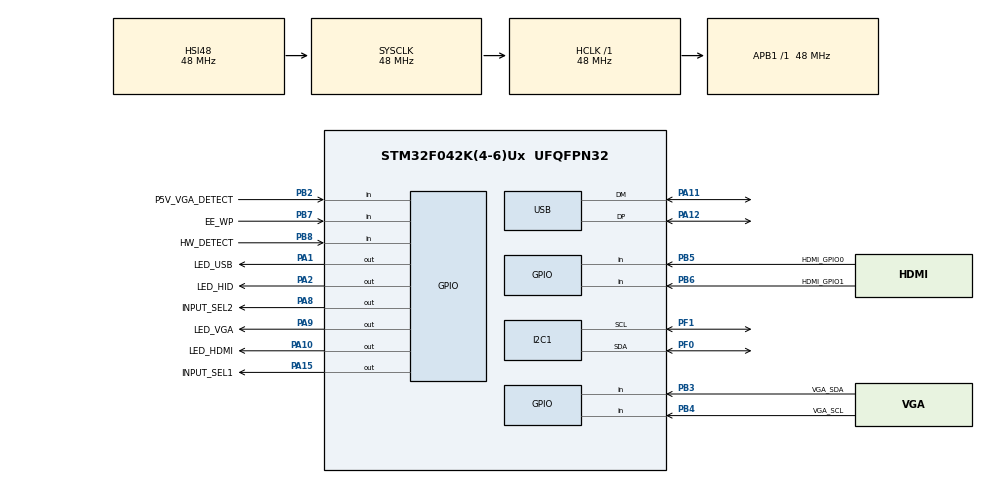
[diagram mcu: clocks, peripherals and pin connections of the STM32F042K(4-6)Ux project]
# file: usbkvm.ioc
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Mcu.Family=STM32F0
PA9.GPIO_Label=LED_VGA
I2C1.I2C_Rise_Time=0x0
PB8.GPIO_PuPd=GPIO_PULLUP
PA11.Mode=Device
PB6.GPIO_Label=HDMI_GPIO1
RCC.SYSCLKSource=RCC_SYSCLKSOURCE_HSI48
ProjectManager.StackSize=0x400
NVIC.I2C1_IRQn=true\:0\:0\:false\:false\:true\:true\:true
PA13.Signal=SYS_SWDIO
PB8.GPIO_Label=HW_DETECT
PA15.GPIO_Label=INPUT_SEL1
PA12.Signal=USB_DP
PA8.GPIO_Label=INPUT_SEL2
ProjectManager.TargetToolchain=Makefile
RCC.HCLKFreq_Value=48000000
PA9.Signal=GPIO_Output
PB6.Signal=GPIO_Input
VP_RCC_USB.Mode=CRS SYNC Source USB
PA1.Signal=GPIO_Output
RCC.AHBFreq_Value=48000000
PF0-OSC_IN.Mode=I2C
PB2.Signal=GPIO_Input
board=custom
I2C1.NoStretchMode=I2C_NOSTRETCH_ENABLE
PB4.GPIO_Label=VGA_SCL
PA14.Mode=Serial_Wire
PA1.GPIO_Label=LED_USB
PA10.GPIO_Label=LED_HDMI
PB7.Signal=GPIO_Input
PA8.Signal=GPIO_Output
PA13.Mode=Serial_Wire
Mcu.Name=STM32F042K(4-6)Ux
PB2.GPIO_PuPd=GPIO_PULLUP
PA2.Signal=GPIO_Output
I2C1.OwnAddress=0xa
PB7.GPIO_Label=EE_WP
PB3.Signal=GPIO_Input
RCC.SYSCLKFreq_VALUE=48000000
Mcu.Package=UFQFPN32
PB5.Signal=GPIO_Input
PA12.Mode=Device
PA2.GPIO_Label=LED_HID
PA11.Signal=USB_DM
PA10.Signal=GPIO_Output
PA14.Signal=SYS_SWCLK
PB2.GPIO_Label=P5V_VGA_DETECT
PA15.Signal=GPIO_Output
ProjectManager.HeapSize=0x200
PB5.GPIO_Label=HDMI_GPIO0
RCC.APB1TimFreq_Value=48000000
PB8.Signal=GPIO_Input
PF0-OSC_IN.Signal=I2C1_SDA
PF1-OSC_OUT.Mode=I2C
RCC.APB1Freq_Value=48000000
PF1-OSC_OUT.Signal=I2C1_SCL
PB4.Signal=GPIO_Input
PB3.GPIO_Label=VGA_SDA

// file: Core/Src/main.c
/* USER CODE BEGIN Header */
/**
 ******************************************************************************
 * @file           : main.c
 * @brief          : Main program body
 ******************************************************************************
 * @attention
 *
 * <h2><center>&copy; Copyright (c) 2024 STMicroelectronics.
 * All rights reserved.</center></h2>
 *
 * This software component is licensed by ST under BSD 3-Clause license,
 * the "License"; You may not use this file except in compliance with the
 * License. You may obtain a copy of the License at:
 *                        opensource.org/licenses/BSD-3-Clause
 *
 ******************************************************************************
 */
/* USER CODE END Header */
#include "main.h"

/* USER CODE BEGIN Includes */
#include "tusb.h"
#include "usb_descriptors.h"
#include "../../../common/Inc/i2c_comm.h"
#include "../../../common/Inc/usbkvm_common.h"
#include "../../../common/Inc/flash_header.h"
#include "stm32f0xx_ll_system.h"
/* USER CODE END Includes */

I2C_HandleTypeDef hi2c1;

PCD_HandleTypeDef hpcd_USB_FS;

void SystemClock_Config(void);
static void MX_GPIO_Init(void);
static void MX_I2C1_Init(void);
static void MX_USB_PCD_Init(void);

/* USER CODE BEGIN 0 */

const volatile flash_header_t g_flash_header __attribute__ ((section (".flash_hdr"))) = {.magic = 0x1337, .app_version = I2C_APP_VERSION};
volatile uint32_t g_vector_table[48] __attribute__((section(".ram_vector_table")));

static uint8_t read_vga_connected()
{
  return !HAL_GPIO_ReadPin(P5V_VGA_DETECT_GPIO_Port, P5V_VGA_DETECT_Pin);
}

// Invoked when received GET_REPORT control request
// Application must fill buffer report's content and return its length.
// Return zero will cause the stack to STALL request
uint16_t tud_hid_get_report_cb(uint8_t instance, uint8_t report_id,
                               hid_report_type_t report_type, uint8_t *buffer,
                               uint16_t reqlen) {
  // TODO not Implemented
  (void)instance;
  (void)report_id;
  (void)report_type;
  (void)buffer;
  (void)reqlen;

  return 0;
}

// Invoked when received SET_REPORT control request or
// received data on OUT endpoint ( Report ID = 0, Type = 0 )
void tud_hid_set_report_cb(uint8_t instance, uint8_t report_id,
                           hid_report_type_t report_type, uint8_t const *buffer,
                           uint16_t bufsize) {}

void tud_hid_set_protocol_cb(uint8_t instance, uint8_t protocol) {
  (void)instance;
  (void)protocol;

  // nothing to do since we use the same compatible boot report for both Boot
  // and Report mode.
  // TODO set a indicator for user
}

typedef struct TU_ATTR_PACKED {
  uint8_t buttons;  /**< buttons mask for currently pressed buttons in the mouse. */
  int16_t x;    /**< Current delta x movement of the mouse. */
  int16_t y;    /**< Current delta y movement on the mouse. */
  int8_t wheel; /**< Current delta wheel movement on the mouse. */
  int8_t pan;   // using AC Pan
} hid_mouse_abs_report_t;

static const uint32_t report_timeout = 100;

void i2c_req_handle_keyboard_report(i2c_req_keyboard_report_t *req)
{
  uint32_t ticks_start = HAL_GetTick();
  i2c_resp_buf.report.success = 1;
  while(!tud_hid_n_ready(ITF_NUM_KEYBOARD)) {
    tud_task();
    if((HAL_GetTick() - ticks_start) > report_timeout) {
      i2c_resp_buf.report.success = 0;
      break;
    }
  }
  if(i2c_resp_buf.report.success)
    tud_hid_n_keyboard_report(ITF_NUM_KEYBOARD, 0, req->mod, req->keycode);
  i2c_resp_buf.report.seq = req->seq;
}

void i2c_req_handle_mouse_report(i2c_req_mouse_report_t *req)
{
  uint32_t ticks_start = HAL_GetTick();
  i2c_resp_buf.report.success = 1;
  while(!tud_hid_n_ready(ITF_NUM_MOUSE)) {
    tud_task();
    if((HAL_GetTick() - ticks_start) > report_timeout) {
      i2c_resp_buf.report.success = 0;
      break;
    }
  }
  if(i2c_resp_buf.report.success) {
    hid_mouse_abs_report_t report = {.buttons = req->button,
                                      .x = req->x,
                                      .y = req->y,
                                      .wheel = req->v,
                                      .pan = req->h};

    tud_hid_n_report(ITF_NUM_MOUSE, 0, &report, sizeof(report));
  }
  i2c_resp_buf.report.seq = req->seq;
}

void i2c_req_handle_get_info(const i2c_req_unknown_t *unk)
{
  i2c_resp_buf.info.version = I2C_APP_VERSION;
  i2c_resp_buf.info.model = get_hw_model();
  i2c_resp_buf.info.seq = unk->seq;
}

void i2c_req_handle_get_status(const i2c_req_unknown_t *unk)
{
  uint8_t status = 0;
  if(read_vga_connected())
    status |= I2C_STATUS_VGA_CONNECTED;
  i2c_resp_buf.status.status = status;
  i2c_resp_buf.status.seq = unk->seq;
}

static i2c_req_set_led_t led_override;

static uint8_t get_led(uint8_t led, uint8_t orig_state) {
  if (led_override.mask & led)
    return led_override.stat & led;
  return orig_state;
}

void i2c_req_handle_set_led(const i2c_req_set_led_t *led) {
  led_override = *led;
}

void i2c_req_handle_get_unique_id(const i2c_req_unknown_t *unk) {
  memcpy(i2c_resp_buf.unique_id.uid, (uint32_t*)UID_BASE, sizeof(i2c_resp_buf.unique_id.uid));
  i2c_resp_buf.unique_id.seq = unk->seq;
}

static uint16_t led_usb_counter = 0;

void update_leds()
{
  HAL_GPIO_WritePin(LED_USB_GPIO_Port, LED_USB_Pin,
                    get_led(I2C_LED_USB, led_usb_counter != 0));
  if (led_usb_counter)
    led_usb_counter--;
}

static void i2c_req_dispatch(i2c_req_all_t *req)
{
  switch(req->unk.type) {
    case I2C_REQ_KEYBOARD_REPORT:
      led_usb_counter = 50;
      i2c_req_handle_keyboard_report(&req->kbd);
      break;
    case I2C_REQ_MOUSE_REPORT:
      led_usb_counter = 50;
      i2c_req_handle_mouse_report(&req->mouse);
      break;
    case I2C_REQ_COM_GET_INFO:
      i2c_req_handle_get_info(&req->unk);
      break;
    case I2C_REQ_GET_STATUS:
      i2c_req_handle_get_status(&req->unk);
      break;
    case I2C_REQ_SET_LED:
      i2c_req_handle_set_led(&req->set_led);
      break;
    case I2C_REQ_GET_UNIQUE_ID:
      i2c_req_handle_get_unique_id(&req->unk);
      break;
    case I2C_REQ_ENTER_BOOTLOADER:
      NVIC_SystemReset();
      break;
  }
}

/* USER CODE END 0 */

int main(void)
{
  /* USER CODE BEGIN 1 */
  for(int i = 0; i < 48; i++)
  {
    g_vector_table[i] = *(volatile uint32_t*)(0x8000000+0x2000+0x20 + (i<<2));
  }

  /* Enable the SYSCFG peripheral clock*/
  __HAL_RCC_SYSCFG_CLK_ENABLE();
  /* Remap SRAM at 0x00000000 */
  LL_SYSCFG_SetRemapMemory(LL_SYSCFG_REMAP_SRAM);
  /* USER CODE END 1 */

  /* MCU Configuration--------------------------------------------------------*/

  /* Reset of all peripherals, Initializes the Flash interface and the Systick. */
  HAL_Init();

  /* Configure the system clock */
  SystemClock_Config();

  /* Initialize all configured peripherals */
  MX_GPIO_Init();
  MX_I2C1_Init();
  MX_USB_PCD_Init();
  /* USER CODE BEGIN 2 */

  update_hw_model();

  if(get_hw_model() == I2C_MODEL_USBKVM_PRO) {
    HAL_GPIO_WritePin(INPUT_SEL1_GPIO_Port, INPUT_SEL1_Pin, GPIO_PIN_SET);
    HAL_GPIO_WritePin(INPUT_SEL2_GPIO_Port, INPUT_SEL2_Pin, GPIO_PIN_RESET);
  }

  tusb_init();
  hi2c1.Instance->TXDR = 0x83;

  HAL_I2C_EnableListen_IT(&hi2c1);
  led_usb_counter = 1000;

  /* USER CODE END 2 */

  /* Infinite loop */
  /* USER CODE BEGIN WHILE */
  while (1) {
    tud_task();
    HAL_GPIO_WritePin(LED_HID_GPIO_Port, LED_HID_Pin,
                      get_led(I2C_LED_HID, tud_hid_n_ready(ITF_NUM_KEYBOARD)));
    HAL_GPIO_WritePin(LED_HDMI_GPIO_Port, LED_HDMI_Pin,
                      get_led(I2C_LED_HDMI, 0));

    if (get_hw_model() == I2C_MODEL_USBKVM_PRO) {
      uint8_t has_vga = read_vga_connected();
      HAL_GPIO_WritePin(LED_VGA_GPIO_Port, LED_VGA_Pin, has_vga);
      HAL_GPIO_WritePin(INPUT_SEL2_GPIO_Port, INPUT_SEL2_Pin, !has_vga);
    }

    i2c_req_all_t req;
    if(i2c_read_req(&req)) {
      i2c_req_dispatch(&req);
    }
    /* USER CODE END WHILE */

  }
}

void SystemClock_Config(void)
{
  RCC_OscInitTypeDef RCC_OscInitStruct = {0};
  RCC_ClkInitTypeDef RCC_ClkInitStruct = {0};
  RCC_PeriphCLKInitTypeDef PeriphClkInit = {0};
  RCC_CRSInitTypeDef RCC_CRSInitStruct = {0};

  /** Initializes the RCC Oscillators according to the specified parameters
  * in the RCC_OscInitTypeDef structure.
  */
  RCC_OscInitStruct.OscillatorType = RCC_OSCILLATORTYPE_HSI|RCC_OSCILLATORTYPE_HSI48;
  RCC_OscInitStruct.HSIState = RCC_HSI_ON;
  RCC_OscInitStruct.HSI48State = RCC_HSI48_ON;
  RCC_OscInitStruct.HSICalibrationValue = RCC_HSICALIBRATION_DEFAULT;
  RCC_OscInitStruct.PLL.PLLState = RCC_PLL_NONE;
  if (HAL_RCC_OscConfig(&RCC_OscInitStruct) != HAL_OK)
  {
    Error_Handler();
  }
  /** Initializes the CPU, AHB and APB buses clocks
  */
  RCC_ClkInitStruct.ClockType = RCC_CLOCKTYPE_HCLK|RCC_CLOCKTYPE_SYSCLK
                              |RCC_CLOCKTYPE_PCLK1;
  RCC_ClkInitStruct.SYSCLKSource = RCC_SYSCLKSOURCE_HSI48;
  RCC_ClkInitStruct.AHBCLKDivider = RCC_SYSCLK_DIV1;
  RCC_ClkInitStruct.APB1CLKDivider = RCC_HCLK_DIV1;

  if (HAL_RCC_ClockConfig(&RCC_ClkInitStruct, FLASH_LATENCY_1) != HAL_OK)
  {
    Error_Handler();
  }
  PeriphClkInit.PeriphClockSelection = RCC_PERIPHCLK_USB|RCC_PERIPHCLK_I2C1;
  PeriphClkInit.I2c1ClockSelection = RCC_I2C1CLKSOURCE_HSI;
  PeriphClkInit.UsbClockSelection = RCC_USBCLKSOURCE_HSI48;

  if (HAL_RCCEx_PeriphCLKConfig(&PeriphClkInit) != HAL_OK)
  {
    Error_Handler();
  }
  /** Enable the SYSCFG APB clock
  */
  __HAL_RCC_CRS_CLK_ENABLE();
  /** Configures CRS
  */
  RCC_CRSInitStruct.Prescaler = RCC_CRS_SYNC_DIV1;
  RCC_CRSInitStruct.Source = RCC_CRS_SYNC_SOURCE_USB;
  RCC_CRSInitStruct.Polarity = RCC_CRS_SYNC_POLARITY_RISING;
  RCC_CRSInitStruct.ReloadValue = __HAL_RCC_CRS_RELOADVALUE_CALCULATE(48000000,1000);
  RCC_CRSInitStruct.ErrorLimitValue = 34;
  RCC_CRSInitStruct.HSI48CalibrationValue = 32;

  HAL_RCCEx_CRSConfig(&RCC_CRSInitStruct);
}

static void MX_I2C1_Init(void)
{

  hi2c1.Instance = I2C1;
  hi2c1.Init.Timing = 0x2000090E;
  hi2c1.Init.OwnAddress1 = 20;
  hi2c1.Init.AddressingMode = I2C_ADDRESSINGMODE_7BIT;
  hi2c1.Init.DualAddressMode = I2C_DUALADDRESS_DISABLE;
  hi2c1.Init.OwnAddress2 = 0;
  hi2c1.Init.OwnAddress2Masks = I2C_OA2_NOMASK;
  hi2c1.Init.GeneralCallMode = I2C_GENERALCALL_DISABLE;
  hi2c1.Init.NoStretchMode = I2C_NOSTRETCH_ENABLE;
  if (HAL_I2C_Init(&hi2c1) != HAL_OK)
  {
    Error_Handler();
  }
  /** Configure Analogue filter
  */
  if (HAL_I2CEx_ConfigAnalogFilter(&hi2c1, I2C_ANALOGFILTER_ENABLE) != HAL_OK)
  {
    Error_Handler();
  }
  /** Configure Digital filter
  */
  if (HAL_I2CEx_ConfigDigitalFilter(&hi2c1, 0) != HAL_OK)
  {
    Error_Handler();
  }

}

static void MX_USB_PCD_Init(void)
{

  hpcd_USB_FS.Instance = USB;
  hpcd_USB_FS.Init.dev_endpoints = 8;
  hpcd_USB_FS.Init.speed = PCD_SPEED_FULL;
  hpcd_USB_FS.Init.phy_itface = PCD_PHY_EMBEDDED;
  hpcd_USB_FS.Init.low_power_enable = DISABLE;
  hpcd_USB_FS.Init.lpm_enable = DISABLE;
  hpcd_USB_FS.Init.battery_charging_enable = DISABLE;
  if (HAL_PCD_Init(&hpcd_USB_FS) != HAL_OK)
  {
    Error_Handler();
  }

}

static void MX_GPIO_Init(void)
{
  GPIO_InitTypeDef GPIO_InitStruct = {0};

  /* GPIO Ports Clock Enable */
  __HAL_RCC_GPIOF_CLK_ENABLE();
  __HAL_RCC_GPIOA_CLK_ENABLE();
  __HAL_RCC_GPIOB_CLK_ENABLE();

  /*Configure GPIO pin Output Level */
  HAL_GPIO_WritePin(GPIOA, LED_USB_Pin|LED_HID_Pin|INPUT_SEL2_Pin|LED_VGA_Pin
                          |LED_HDMI_Pin|INPUT_SEL1_Pin, GPIO_PIN_RESET);

  /*Configure GPIO pins : LED_USB_Pin LED_HID_Pin INPUT_SEL2_Pin LED_VGA_Pin
                           LED_HDMI_Pin INPUT_SEL1_Pin */
  GPIO_InitStruct.Pin = LED_USB_Pin|LED_HID_Pin|INPUT_SEL2_Pin|LED_VGA_Pin
                          |LED_HDMI_Pin|INPUT_SEL1_Pin;
  GPIO_InitStruct.Mode = GPIO_MODE_OUTPUT_PP;
  GPIO_InitStruct.Pull = GPIO_NOPULL;
  GPIO_InitStruct.Speed = GPIO_SPEED_FREQ_LOW;
  HAL_GPIO_Init(GPIOA, &GPIO_InitStruct);

  /*Configure GPIO pins : P5V_VGA_DETECT_Pin HW_DETECT_Pin */
  GPIO_InitStruct.Pin = P5V_VGA_DETECT_Pin|HW_DETECT_Pin;
  GPIO_InitStruct.Mode = GPIO_MODE_INPUT;
  GPIO_InitStruct.Pull = GPIO_PULLUP;
  HAL_GPIO_Init(GPIOB, &GPIO_InitStruct);

  /*Configure GPIO pins : VGA_SDA_Pin VGA_SCL_Pin HDMI_GPIO0_Pin HDMI_GPIO1_Pin
                           EE_WP_Pin */
  GPIO_InitStruct.Pin = VGA_SDA_Pin|VGA_SCL_Pin|HDMI_GPIO0_Pin|HDMI_GPIO1_Pin
                          |EE_WP_Pin;
  GPIO_InitStruct.Mode = GPIO_MODE_INPUT;
  GPIO_InitStruct.Pull = GPIO_NOPULL;
  HAL_GPIO_Init(GPIOB, &GPIO_InitStruct);

}

void Error_Handler(void)
{
  __disable_irq();
  while (1) {
  }
}

#ifdef  USE_FULL_ASSERT
/**
  * @brief  Reports the name of the source file and the source line number
  *         where the assert_param error has occurred.
  * @param  file: pointer to the source file name
  * @param  line: assert_param error line source number
  * @retval None
  */
void assert_failed(uint8_t *file, uint32_t line)
{
  /* USER CODE BEGIN 6 */
  /* User can add his own implementation to report the file name and line
     number, ex: printf("Wrong parameters value: file %s on line %d\r\n", file,
     line) */
  /* USER CODE END 6 */
}
#endif /* USE_FULL_ASSERT */

/************************ (C) COPYRIGHT STMicroelectronics *****END OF FILE****/
